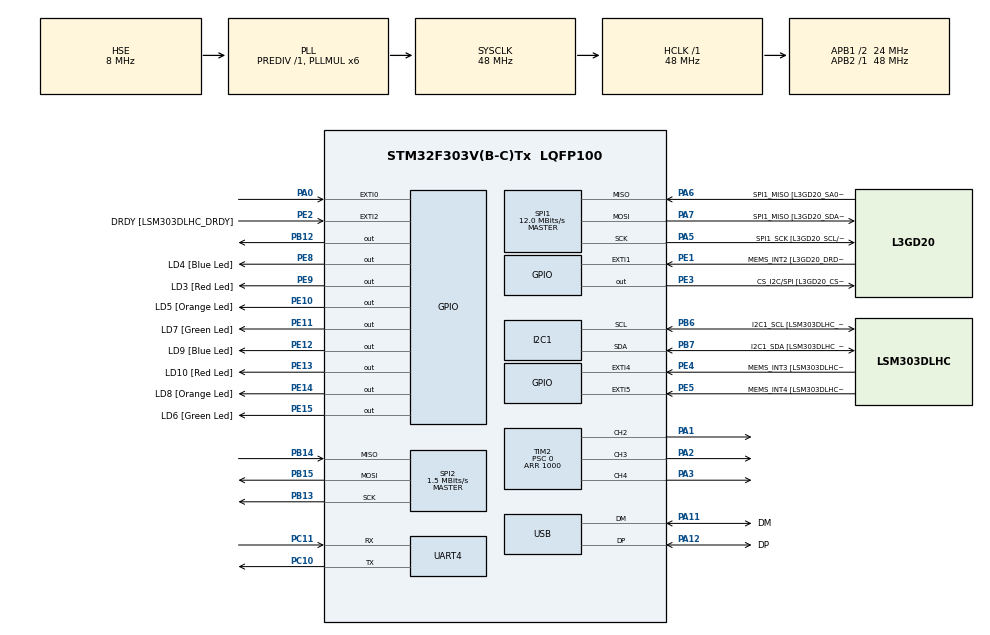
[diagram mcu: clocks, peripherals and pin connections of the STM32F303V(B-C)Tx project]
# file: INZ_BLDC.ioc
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Dma.Request0=SPI2_RX
Dma.Request1=SPI2_TX
Dma.Request2=UART4_RX
Dma.Request3=UART4_TX
Dma.SPI2_RX.0.Direction=DMA_PERIPH_TO_MEMORY
Dma.SPI2_RX.0.Instance=DMA1_Channel4
Dma.SPI2_RX.0.MemDataAlignment=DMA_MDATAALIGN_BYTE
Dma.SPI2_RX.0.MemInc=DMA_MINC_ENABLE
Dma.SPI2_RX.0.Mode=DMA_NORMAL
Dma.SPI2_RX.0.PeriphDataAlignment=DMA_PDATAALIGN_BYTE
Dma.SPI2_RX.0.PeriphInc=DMA_PINC_DISABLE
Dma.SPI2_RX.0.Priority=DMA_PRIORITY_LOW
Dma.SPI2_TX.1.Direction=DMA_MEMORY_TO_PERIPH
Dma.SPI2_TX.1.Instance=DMA1_Channel5
Dma.SPI2_TX.1.MemDataAlignment=DMA_MDATAALIGN_BYTE
Dma.SPI2_TX.1.MemInc=DMA_MINC_ENABLE
Dma.SPI2_TX.1.Mode=DMA_NORMAL
Dma.SPI2_TX.1.PeriphDataAlignment=DMA_PDATAALIGN_BYTE
Dma.SPI2_TX.1.PeriphInc=DMA_PINC_DISABLE
Dma.SPI2_TX.1.Priority=DMA_PRIORITY_LOW
Dma.UART4_RX.2.Direction=DMA_PERIPH_TO_MEMORY
Dma.UART4_RX.2.Instance=DMA2_Channel3
Dma.UART4_RX.2.MemDataAlignment=DMA_MDATAALIGN_BYTE
Dma.UART4_RX.2.MemInc=DMA_MINC_ENABLE
Dma.UART4_RX.2.Mode=DMA_NORMAL
Dma.UART4_RX.2.PeriphDataAlignment=DMA_PDATAALIGN_BYTE
Dma.UART4_RX.2.PeriphInc=DMA_PINC_DISABLE
Dma.UART4_RX.2.Priority=DMA_PRIORITY_LOW
Dma.UART4_TX.3.Direction=DMA_MEMORY_TO_PERIPH
Dma.UART4_TX.3.Instance=DMA2_Channel5
Dma.UART4_TX.3.MemDataAlignment=DMA_MDATAALIGN_BYTE
Dma.UART4_TX.3.MemInc=DMA_MINC_ENABLE
Dma.UART4_TX.3.Mode=DMA_NORMAL
Dma.UART4_TX.3.PeriphDataAlignment=DMA_PDATAALIGN_BYTE
Dma.UART4_TX.3.PeriphInc=DMA_PINC_DISABLE
Dma.UART4_TX.3.Priority=DMA_PRIORITY_LOW
I2C1.Timing=0x2000090E
I2C1.Timing-I2C=0x2000090E
Mcu.Family=STM32F3
Mcu.Name=STM32F303V(B-C)Tx
Mcu.Package=LQFP100
NVIC.DMA1_Channel4_IRQn=true\:0\:0\:false\:false\:true\:false
NVIC.DMA1_Channel5_IRQn=true\:0\:0\:false\:false\:true\:false
NVIC.DMA2_Channel3_IRQn=true\:0\:0\:false\:false\:true\:false
NVIC.DMA2_Channel5_IRQn=true\:0\:0\:false\:false\:true\:false
NVIC.EXTI0_IRQn=true\:0\:0\:false\:false\:true\:true
NVIC.PriorityGroup=NVIC_PRIORITYGROUP_0
NVIC.SPI2_IRQn=true\:0\:0\:false\:false\:true\:true
NVIC.TIM1_TRG_COM_TIM17_IRQn=true\:0\:0\:false\:false\:true\:true
NVIC.TIM1_UP_TIM16_IRQn=true\:0\:0\:false\:false\:true\:true
NVIC.TIM2_IRQn=true\:0\:0\:false\:false\:true\:true
NVIC.UART4_IRQn=true\:0\:0\:false\:false\:true\:true
PA0.Signal=GPXTI0
PA1.GPIO_Speed=GPIO_SPEED_FREQ_HIGH
PA1.Signal=S_TIM2_CH2
PA11.GPIO_Label=DM
PA11.Mode=Device
PA11.Signal=USB_DM
PA12.GPIO_Label=DP
PA12.Mode=Device
PA12.Signal=USB_DP
PA13.GPIO_Label=SWDIO
PA13.Mode=Serial_Wire
PA13.Signal=SYS_JTMS-SWDIO
PA14.GPIO_Label=SWCLK
PA14.Mode=Serial_Wire
PA14.Signal=SYS_JTCK-SWCLK
PA2.GPIO_Speed=GPIO_SPEED_FREQ_HIGH
PA2.Signal=S_TIM2_CH3
PA3.GPIO_Speed=GPIO_SPEED_FREQ_HIGH
PA3.Signal=S_TIM2_CH4
PA5.GPIO_Label=SPI1_SCK [L3GD20_SCL/SPC]
PA5.Mode=Full_Duplex_Master
PA5.Signal=SPI1_SCK
PA6.GPIO_Label=SPI1_MISO [L3GD20_SA0/SDO]
PA6.Mode=Full_Duplex_Master
PA6.Signal=SPI1_MISO
PA7.GPIO_Label=SPI1_MISO [L3GD20_SDA/SDI/SDO]
PA7.Mode=Full_Duplex_Master
PA7.Signal=SPI1_MOSI
PB12.GPIO_Speed=GPIO_SPEED_FREQ_LOW
PB12.Signal=GPIO_Output
PB13.Mode=Full_Duplex_Master
PB13.Signal=SPI2_SCK
PB14.Mode=Full_Duplex_Master
PB14.Signal=SPI2_MISO
PB15.Mode=Full_Duplex_Master
PB15.Signal=SPI2_MOSI
PB3.GPIO_Label=SWO
PB3.Signal=SYS_JTDO-TRACESWO
PB6.GPIO_Label=I2C1_SCL [LSM303DLHC_SCL]
PB6.Mode=I2C
PB6.Signal=I2C1_SCL
PB7.GPIO_Label=I2C1_SDA [LSM303DLHC_SDA]
PB7.Mode=I2C
PB7.Signal=I2C1_SDA
PC10.Mode=Asynchronous
PC10.Signal=UART4_TX
PC11.Mode=Asynchronous
PC11.Signal=UART4_RX
PC14-OSC32_IN.GPIO_Label=OSC32_IN
PC14-OSC32_IN.Signal=RCC_OSC32_IN
PC15-OSC32_OUT.GPIO_Label=OSC32_OUT
PC15-OSC32_OUT.Signal=RCC_OSC32_OUT
PE1.GPIO_Label=MEMS_INT2 [L3GD20_DRDY/INT2]
PE1.GPIO_ModeDefaultEXTI=GPIO_MODE_EVT_RISING
PE1.Signal=GPXTI1
PE10.GPIO_Label=LD5 [Orange Led]
PE10.Signal=GPIO_Output
PE11.GPIO_Label=LD7 [Green Led]
PE11.Signal=GPIO_Output
PE12.GPIO_Label=LD9 [Blue Led]
PE12.Signal=GPIO_Output
PE13.GPIO_Label=LD10 [Red Led]
PE13.Signal=GPIO_Output
PE14.GPIO_Label=LD8 [Orange Led]
PE14.Signal=GPIO_Output
PE15.GPIO_Label=LD6 [Green Led]
PE15.Signal=GPIO_Output
PE2.GPIO_Label=DRDY [LSM303DLHC_DRDY]
PE2.GPIO_ModeDefaultEXTI=GPIO_MODE_EVT_RISING
PE2.Signal=GPXTI2
PE3.GPIO_Label=CS_I2C/SPI [L3GD20_CS_I2C/SPI]
PE3.Signal=GPIO_Output
PE4.GPIO_Label=MEMS_INT3 [LSM303DLHC_INT1]
PE4.GPIO_ModeDefaultEXTI=GPIO_MODE_EVT_RISING
PE4.Signal=GPXTI4
PE5.GPIO_Label=MEMS_INT4 [LSM303DLHC_INT2]
PE5.GPIO_ModeDefaultEXTI=GPIO_MODE_EVT_RISING
PE5.Signal=GPXTI5
PE8.GPIO_Label=LD4 [Blue Led]
PE8.Signal=GPIO_Output
PE9.GPIO_Label=LD3 [Red Led]
PE9.Signal=GPIO_Output
PF0-OSC_IN.GPIO_Label=OSC_IN
PF0-OSC_IN.Mode=HSE-External-Clock-Source
PF0-OSC_IN.Signal=RCC_OSC_IN
PF1-OSC_OUT.GPIO_Label=OSC_OUT
PF1-OSC_OUT.Signal=RCC_OSC_OUT
ProjectManager.HeapSize=0x200
ProjectManager.StackSize=0x400
ProjectManager.TargetToolchain=TrueSTUDIO
RCC.AHBFreq_Value=48000000
RCC.APB1CLKDivider=RCC_HCLK_DIV2
RCC.APB1Freq_Value=24000000
RCC.APB1TimFreq_Value=48000000
RCC.APB2Freq_Value=48000000
RCC.APB2TimFreq_Value=48000000
RCC.CortexFreq_Value=48000000
RCC.HCLKFreq_Value=48000000
RCC.HSE_VALUE=8000000
RCC.HSI_VALUE=8000000
RCC.LSE_VALUE=32768
RCC.PLLMUL=RCC_PLL_MUL6
RCC.SYSCLKFreq_VALUE=48000000
RCC.SYSCLKSourceVirtual=RCC_SYSCLKSOURCE_PLLCLK
RCC.USBFreq_Value=48000000
SH.S_TIM2_CH2.0=TIM2_CH2,PWM Generation2 CH2
SH.S_TIM2_CH3.0=TIM2_CH3,PWM Generation3 CH3
SH.S_TIM2_CH4.0=TIM2_CH4,PWM Generation4 CH4
SPI1.BaudRatePrescaler=SPI_BAUDRATEPRESCALER_4
SPI1.BaudRatePrescaler-Full_Duplex_Master=SPI_BAUDRATEPRESCALER_2
SPI1.CalculateBaudRate=12.0 MBits/s
SPI1.CalculateBaudRate-Full_Duplex_Master=24.0 MBits/s
SPI1.Direction=SPI_DIRECTION_2LINES
SPI1.Mode=SPI_MODE_MASTER
SPI1.Mode-Full_Duplex_Master=SPI_MODE_MASTER
SPI1.VirtualType=VM_MASTER
SPI2.BaudRatePrescaler=SPI_BAUDRATEPRESCALER_16
SPI2.CLKPhase=SPI_PHASE_2EDGE
SPI2.CalculateBaudRate=1.5 MBits/s
SPI2.DataSize=SPI_DATASIZE_8BIT
SPI2.Direction=SPI_DIRECTION_2LINES
SPI2.Mode=SPI_MODE_MASTER
SPI2.VirtualType=VM_MASTER
TIM16.AutoReloadPreload=TIM_AUTORELOAD_PRELOAD_ENABLE
TIM16.Period=1000
TIM16.Prescaler=6400
TIM17.AutoReloadPreload=TIM_AUTORELOAD_PRELOAD_ENABLE
TIM17.Period=1000
TIM17.Prescaler=6400
TIM2.Channel-PWM\ Generation2\ CH2=TIM_CHANNEL_2
TIM2.Channel-PWM\ Generation3\ CH3=TIM_CHANNEL_3
TIM2.Channel-PWM\ Generation4\ CH4=TIM_CHANNEL_4
TIM2.Period=1000
TIM2.Prescaler=0
VP_TIM16_VS_ClockSourceINT.Mode=Enable_Timer
VP_TIM17_VS_ClockSourceINT.Mode=Enable_Timer
board=STM32F3DISCOVERY

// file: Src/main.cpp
/**
 ******************************************************************************
 * @file           : main.c
 * @brief          : Main program body
 ******************************************************************************
 ** This notice applies to any and all portions of this file
 * that are not between comment pairs USER CODE BEGIN and
 * USER CODE END. Other portions of this file, whether
 * inserted by the user or by software development tools
 * are owned by their respective copyright owners.
 *
 * COPYRIGHT(c) 2019 STMicroelectronics
 *
 * Redistribution and use in source and binary forms, with or without modification,
 * are permitted provided that the following conditions are met:
 *   1. Redistributions of source code must retain the above copyright notice,
 *      this list of conditions and the following disclaimer.
 *   2. Redistributions in binary form must reproduce the above copyright notice,
 *      this list of conditions and the following disclaimer in the documentation
 *      and/or other materials provided with the distribution.
 *   3. Neither the name of STMicroelectronics nor the names of its contributors
 *      may be used to endorse or promote products derived from this software
 *      without specific prior written permission.
 *
 * THIS SOFTWARE IS PROVIDED BY THE COPYRIGHT HOLDERS AND CONTRIBUTORS "AS IS"
 * AND ANY EXPRESS OR IMPLIED WARRANTIES, INCLUDING, BUT NOT LIMITED TO, THE
 * IMPLIED WARRANTIES OF MERCHANTABILITY AND FITNESS FOR A PARTICULAR PURPOSE ARE
 * DISCLAIMED. IN NO EVENT SHALL THE COPYRIGHT HOLDER OR CONTRIBUTORS BE LIABLE
 * FOR ANY DIRECT, INDIRECT, INCIDENTAL, SPECIAL, EXEMPLARY, OR CONSEQUENTIAL
 * DAMAGES (INCLUDING, BUT NOT LIMITED TO, PROCUREMENT OF SUBSTITUTE GOODS OR
 * SERVICES; LOSS OF USE, DATA, OR PROFITS; OR BUSINESS INTERRUPTION) HOWEVER
 * CAUSED AND ON ANY THEORY OF LIABILITY, WHETHER IN CONTRACT, STRICT LIABILITY,
 * OR TORT (INCLUDING NEGLIGENCE OR OTHERWISE) ARISING IN ANY WAY OUT OF THE USE
 * OF THIS SOFTWARE, EVEN IF ADVISED OF THE POSSIBILITY OF SUCH DAMAGE.
 *
 ******************************************************************************
 */
#include "main.h"
#include "stm32f3xx_hal.h"

/* USER CODE BEGIN Includes */

#include "LedDriver.h"
#include "AS5048A.h"
#include "UartCom.h"
#include "math.h"
#include <algorithm>

#define ANGLE 360
#define DIRECTION_LEFT 2
#define DIRECTION_RIGHT 1
#define DIRECTION_STOP 0

#define degreesToRadians(angleDegrees) ((angleDegrees) * M_PI / 180.0)

/* USER CODE END Includes */

I2C_HandleTypeDef hi2c1;

SPI_HandleTypeDef hspi1;
SPI_HandleTypeDef hspi2;
DMA_HandleTypeDef hdma_spi2_rx;
DMA_HandleTypeDef hdma_spi2_tx;

TIM_HandleTypeDef htim2;
TIM_HandleTypeDef htim16;
TIM_HandleTypeDef htim17;

UART_HandleTypeDef huart4;
DMA_HandleTypeDef hdma_uart4_rx;
DMA_HandleTypeDef hdma_uart4_tx;

PCD_HandleTypeDef hpcd_USB_FS;

/* USER CODE BEGIN PV */
/* Private variables ---------------------------------------------------------*/
uint8_t button = 1;
uint8_t direction;

uint8_t start_change_fi = false;
uint16_t answ;
uint16_t datax;
uint16_t dataBufferRX;
dataTX *dataBufferTX;

uint16_t zero_angle;

AS5048A *encoder_1;
UartCom *uartPC;
Led_Driver *leds;

int SPWM_strong [ANGLE];
int SPWM_light [ANGLE];
int *SPWM;

double SP;
double ep = 0.0;
double e;

double ster = 0.0;

int32_t U;
int32_t V;
int32_t W;

volatile uint32_t* u_reg;
volatile uint32_t* v_reg;
volatile uint32_t* w_reg;

volatile uint32_t* speed_reg;

volatile uint32_t* speed_timer_reg;

uint32_t rotate;

#define ANG 1640
#define HANG 820

/* USER CODE END PV */

void SystemClock_Config(void);
static void MX_GPIO_Init(void);
static void MX_DMA_Init(void);
static void MX_I2C1_Init(void);
static void MX_SPI1_Init(void);
static void MX_USB_PCD_Init(void);
static void MX_UART4_Init(void);
static void MX_SPI2_Init(void);
static void MX_TIM2_Init(void);
static void MX_TIM17_Init(void);
static void MX_TIM16_Init(void);

//void HAL_TIM_MspPostInit(TIM_HandleTypeDef *htim);

/* USER CODE BEGIN PFP */
/* Private function prototypes -----------------------------------------------*/
extern "C" void HAL_TIM_MspPostInit(TIM_HandleTypeDef *htim);

void GenerateSPWM(int max_duty, int S[]){
	for(int i=0; i<ANGLE; i++){
		S[i]= max_duty*(sin(degreesToRadians(i))) + max_duty;
	}
}

void setComuteAngle(int16_t angle){
	U = angle; 	if(U >= ANGLE) U -= ANGLE; else if(U < 0) U += ANGLE-1;
	V = U+120; 	if(V >= ANGLE) V -= ANGLE; else if(V < 0) V += ANGLE-1;
	W = V+120; 	if(W >= ANGLE) W -= ANGLE; else if(W < 0) W += ANGLE-1;

	*u_reg = (uint32_t) SPWM[U] * ster;
	*v_reg = (uint32_t) SPWM[V] * ster;
	*w_reg = (uint32_t) SPWM[W] * ster;

}

void setComuteAngleDef(int16_t angle){
	U = angle; 	if(U >= ANGLE) U -= ANGLE; else if(U < 0) U += ANGLE-1;
	V = U+120; 	if(V >= ANGLE) V -= ANGLE; else if(V < 0) V += ANGLE-1;
	W = V+120; 	if(W >= ANGLE) W -= ANGLE; else if(W < 0) W += ANGLE-1;

	*u_reg = (uint32_t) SPWM[U];
	*v_reg = (uint32_t) SPWM[V];
	*w_reg = (uint32_t) SPWM[W];

}

void HAL_GPIO_EXTI_Callback(uint16_t GPIO_Pin){
	button = !button;
}

/* USER CODE END PFP */

/* USER CODE BEGIN 0 */

void HAL_SPI_TxRxCpltCallback(SPI_HandleTypeDef *hspi){
	if(start_change_fi){
		uint16_t set = 0;
		set = (double) encoder_1->getAngle() / 6.5;
		set %= 360;
		set -= zero_angle;
		set += 90;

		setComuteAngle(set);
	}
	//dataBufferTX->angle = encoder_1->getAngle();

	//zero_angle;

	encoder_1->sendNextData();
	//SETING LEDS ON BOARD TO SHOW APPROXIMATELY ENGINE POSITION ~~~NOW TO SLOW

	//	if(button)
	//		leds->showSET((uint8_t)(encoder_1->getAngle() / 2048));
	//	else
	//		leds->showRESET((uint8_t)(encoder_1->getAngle() / 2048));
}

void HAL_UART_TxCpltCallback(UART_HandleTypeDef *huart) {
	uartPC->sendData();
}

void HAL_UART_RxCpltCallback(UART_HandleTypeDef *huart) {
	uartPC->recieveNextData();
	//GenerateSPWM(uartPC->getData(),0.2,SPWM);
	//HAL_TIM_Base_DeInit(&htim17);
	//HAL_TIM_Base_Stop_IT(&htim17);
	//htim17.Init.Period = uartPC->getAngle();
	SP = uartPC->getData();
	//TIM17->ARR = uartPC->getData() / 10;
	//HAL_TIM_Base_Init(&htim17);
	//HAL_TIM_Base_Start_IT(&htim17);

	//SP = uartPC->getAngle();

}

uint32_t prev_time = HAL_GetTick();
uint16_t prev_angle = 0;
//std::vector<double> speed_vector (50,100.0);

void calculateSpeed(){
	std::vector<uint16_t> angle_vector = encoder_1->getAngleVector();

	uint32_t arvg_speed = 0;

	for(uint16_t i = 0; i < angle_vector.size(); i++){
		arvg_speed += angle_vector[i];
	}

	arvg_speed /= angle_vector.size();

	uint32_t time = HAL_GetTick();
	uint32_t dt = time - prev_time;
	prev_time = time;

	uint16_t angle = encoder_1->getAngle();
	uint16_t dAngle = angle - prev_angle;

	if(angle < prev_angle){
		dAngle = std::min(abs(angle - prev_angle), abs(angle + ANG - prev_angle));
	} else {
		dAngle = std::min(angle - prev_angle, abs(angle - ANG - prev_angle));
	}

	prev_angle = angle;
	//double SP = 50.0;
	double Kp = 0.1;
	double Ti = 1.5;

	double speed = (double)dAngle / dt;

	e = SP - speed;

	double C;
	//czlon I
	C = ((e + ep)/2)*dt;

	C *= Ti;

	ster = Kp*(e + C);

	ep = e;

//	htim17.Instance->ARR = 2000 - Kp * e;

	//	speed *= 1;
	//	arvg_speed /=

	//	speed_vector.erase (speed_vector.begin());
	//	speed_vector.push_back(speed);
	//
	//	double av_speed = 0;
	//	for(int i = 0; i < speed_vector.size(); i++){
	//		av_speed += speed_vector[i];
	//	}
	//
	//	av_speed /= speed_vector.size();

	dataBufferTX->real_angle = speed;
	dataBufferTX->angle = e;

	//	encoder_1->clearAngleVector();
}

void HAL_TIM_PeriodElapsedCallback(TIM_HandleTypeDef *htim){
	if(htim->Instance == htim16.Instance){
		calculateSpeed();
	} else if (htim->Instance == htim17.Instance){
		if(direction == DIRECTION_LEFT)
			setComuteAngle(U + 1);
		else if (direction == DIRECTION_RIGHT)
			setComuteAngle(U - 1);
		else{
			setComuteAngle(U);
		}
	}
}

void initSpeedTimer(TIM_HandleTypeDef *htim){
	htim->Instance->ARR = 500;
	htim->Instance->PSC = 16;
}

/* USER CODE END 0 */

int main(void)
{

	/* MCU Configuration----------------------------------------------------------*/

	/* Reset of all peripherals, Initializes the Flash interface and the Systick. */
	HAL_Init();

	/* Configure the system clock */
	SystemClock_Config();

	/* Initialize all configured peripherals */
	MX_GPIO_Init();
	MX_DMA_Init();
	MX_I2C1_Init();
	MX_SPI1_Init();
	MX_USB_PCD_Init();
	MX_UART4_Init();
	MX_SPI2_Init();
	MX_TIM2_Init();
	MX_TIM17_Init();
	MX_TIM16_Init();
	/* USER CODE BEGIN 2 */

	HAL_TIM_PWM_Start(&htim2, TIM_CHANNEL_2);
	HAL_TIM_PWM_Start(&htim2, TIM_CHANNEL_3);
	HAL_TIM_PWM_Start(&htim2, TIM_CHANNEL_4);

	initSpeedTimer(&htim17);

	/* USER CODE END 2 */

	/* Infinite loop */
	/* USER CODE BEGIN WHILE */

	direction = DIRECTION_RIGHT;

	leds = new Led_Driver(GPIOE, GPIO_PIN_8, GPIO_PIN_15);
	//leds->showIntro();

	encoder_1 = new AS5048A(GPIOB, GPIO_PIN_12, &hspi2);

	encoder_1->startSendData();

	uartPC = new UartCom(&huart4, encoder_1->getBufferRX());
	dataBufferTX = uartPC->getDataBuffer();
	uartPC->startRecieveData();

	rotate= 0;

	u_reg = &TIM2->CCR2;
	v_reg = &TIM2->CCR3;
	w_reg = &TIM2->CCR4;

	speed_reg = &TIM17->ARR;

	U=0;
	V=U+120;
	W=V+120;
	GenerateSPWM(50,SPWM_strong);
	GenerateSPWM(50,SPWM_light);
	SPWM = SPWM_strong;

	*u_reg = (uint32_t) SPWM[U];
	*v_reg = (uint32_t) SPWM[V];
	*w_reg = (uint32_t) SPWM[W];

	HAL_TIM_Base_Start_IT(&htim16);
	//HAL_TIM_Base_Start_IT(&htim17);

	setComuteAngleDef(0);
	HAL_Delay(1000);
	zero_angle = encoder_1->getAngle();
	//
	zero_angle = (double)zero_angle / 6.5;
	//
	zero_angle %= 360;

	start_change_fi = true;

	//dataBufferTX->angle = zero_angle;

	//	for(int i =0; i < 7; i++){
	//setComuteAngle(90);
	//		HAL_Delay(500);
	//		setComuteAngle(180);
	//		HAL_Delay(500);
	//		setComuteAngle(270);
	//		HAL_Delay(500);
	//		setComuteAngle(0);
	//		HAL_Delay(500);

	//	}

	while (1)
	{

		//		U++;
		//		if(U >= 359) U = 0;
		//		V++;
		//		if(V >= 359) V = 0;
		//		W++;
		//		if(W >= 359) W = 0;
		//
		//		*u_reg = (uint32_t) SPWM[U];
		//		*v_reg = (uint32_t) SPWM[V];
		//		*w_reg = (uint32_t) SPWM[W];

		//HAL_Delay(10);

		//int angle = (encoder_1->getAngle() ) / 45.5;
		//		int angle = (encoder_1->getAngle() ) / 10;
		//		//speed_reg = &TIM17->ARR;
		//		if( isOnRange(angle, SP, 1) ){
		//			//GenerateSPWM(50,0.2,SPWM);
		//			SPWM = SPWM_light;
		//			direction = DIRECTION_STOP;
		//			flag = 1;
		//			//button = true;
		//		}
		//		else if(distance(SP, angle) < 0){
		//			//GenerateSPWM(150,0.2,SPWM);
		//			SPWM=SPWM_strong;
		//			direction = DIRECTION_RIGHT;
		//		} else {
		//			//GenerateSPWM(150,0.2,SPWM);
		//			SPWM=SPWM_strong;
		//			direction = DIRECTION_LEFT;
		//		}

		//uartPC->real_angle = ((SP - angle + 180) % 360 - 180 );
		//		else if ((encoder_1->getAngle() / 45.5) > SP){
		//			//button = false;
		//			//GenerateSPWM(150,0.2,SPWM);
		//			direction = DIRECTION_LEFT;
		//		}
		//		else if ((encoder_1->getAngle() / 45.5) < SP){
		//			//button = false;
		//			//GenerateSPWM(150,0.2,SPWM);
		//			direction = DIRECTION_RIGHT;
		//		}
		//uartPC->real_angle = rotate * 360 + U + 40;
		//uartPC->real_angle = (encoder_1->getAngle() ) / 45.5;
		/* USER CODE END WHILE */

		/* USER CODE BEGIN 3 */
		//Wybór kierunku

		//		setComuteAngle(U+1);
		//
		//		for(int i =0; i < 300; i++){
		//			;
		//		}

		//	HAL_Delay(1);
	}
	/* USER CODE END 3 */

}

void SystemClock_Config(void)
{

	RCC_OscInitTypeDef RCC_OscInitStruct;
	RCC_ClkInitTypeDef RCC_ClkInitStruct;
	RCC_PeriphCLKInitTypeDef PeriphClkInit;

	/**Initializes the CPU, AHB and APB busses clocks
	 */
	RCC_OscInitStruct.OscillatorType = RCC_OSCILLATORTYPE_HSI|RCC_OSCILLATORTYPE_HSE;
	RCC_OscInitStruct.HSEState = RCC_HSE_BYPASS;
	RCC_OscInitStruct.HSEPredivValue = RCC_HSE_PREDIV_DIV1;
	RCC_OscInitStruct.HSIState = RCC_HSI_ON;
	RCC_OscInitStruct.HSICalibrationValue = 16;
	RCC_OscInitStruct.PLL.PLLState = RCC_PLL_ON;
	RCC_OscInitStruct.PLL.PLLSource = RCC_PLLSOURCE_HSE;
	RCC_OscInitStruct.PLL.PLLMUL = RCC_PLL_MUL6;
	if (HAL_RCC_OscConfig(&RCC_OscInitStruct) != HAL_OK)
	{
		_Error_Handler(__FILE__, __LINE__);
	}

	/**Initializes the CPU, AHB and APB busses clocks
	 */
	RCC_ClkInitStruct.ClockType = RCC_CLOCKTYPE_HCLK|RCC_CLOCKTYPE_SYSCLK
			|RCC_CLOCKTYPE_PCLK1|RCC_CLOCKTYPE_PCLK2;
	RCC_ClkInitStruct.SYSCLKSource = RCC_SYSCLKSOURCE_PLLCLK;
	RCC_ClkInitStruct.AHBCLKDivider = RCC_SYSCLK_DIV1;
	RCC_ClkInitStruct.APB1CLKDivider = RCC_HCLK_DIV2;
	RCC_ClkInitStruct.APB2CLKDivider = RCC_HCLK_DIV1;

	if (HAL_RCC_ClockConfig(&RCC_ClkInitStruct, FLASH_LATENCY_1) != HAL_OK)
	{
		_Error_Handler(__FILE__, __LINE__);
	}

	PeriphClkInit.PeriphClockSelection = RCC_PERIPHCLK_USB|RCC_PERIPHCLK_UART4
			|RCC_PERIPHCLK_I2C1;
	PeriphClkInit.Uart4ClockSelection = RCC_UART4CLKSOURCE_PCLK1;
	PeriphClkInit.I2c1ClockSelection = RCC_I2C1CLKSOURCE_HSI;
	PeriphClkInit.USBClockSelection = RCC_USBCLKSOURCE_PLL;
	if (HAL_RCCEx_PeriphCLKConfig(&PeriphClkInit) != HAL_OK)
	{
		_Error_Handler(__FILE__, __LINE__);
	}

	/**Configure the Systick interrupt time
	 */
	HAL_SYSTICK_Config(HAL_RCC_GetHCLKFreq()/1000);

	/**Configure the Systick
	 */
	HAL_SYSTICK_CLKSourceConfig(SYSTICK_CLKSOURCE_HCLK);

	/* SysTick_IRQn interrupt configuration */
	HAL_NVIC_SetPriority(SysTick_IRQn, 0, 0);
}

/* I2C1 init function */
static void MX_I2C1_Init(void)
{

	hi2c1.Instance = I2C1;
	hi2c1.Init.Timing = 0x2000090E;
	hi2c1.Init.OwnAddress1 = 0;
	hi2c1.Init.AddressingMode = I2C_ADDRESSINGMODE_7BIT;
	hi2c1.Init.DualAddressMode = I2C_DUALADDRESS_DISABLE;
	hi2c1.Init.OwnAddress2 = 0;
	hi2c1.Init.OwnAddress2Masks = I2C_OA2_NOMASK;
	hi2c1.Init.GeneralCallMode = I2C_GENERALCALL_DISABLE;
	hi2c1.Init.NoStretchMode = I2C_NOSTRETCH_DISABLE;
	if (HAL_I2C_Init(&hi2c1) != HAL_OK)
	{
		_Error_Handler(__FILE__, __LINE__);
	}

	/**Configure Analogue filter
	 */
	if (HAL_I2CEx_ConfigAnalogFilter(&hi2c1, I2C_ANALOGFILTER_ENABLE) != HAL_OK)
	{
		_Error_Handler(__FILE__, __LINE__);
	}

	/**Configure Digital filter
	 */
	if (HAL_I2CEx_ConfigDigitalFilter(&hi2c1, 0) != HAL_OK)
	{
		_Error_Handler(__FILE__, __LINE__);
	}

}

/* SPI1 init function */
static void MX_SPI1_Init(void)
{

	/* SPI1 parameter configuration*/
	hspi1.Instance = SPI1;
	hspi1.Init.Mode = SPI_MODE_MASTER;
	hspi1.Init.Direction = SPI_DIRECTION_2LINES;
	hspi1.Init.DataSize = SPI_DATASIZE_4BIT;
	hspi1.Init.CLKPolarity = SPI_POLARITY_LOW;
	hspi1.Init.CLKPhase = SPI_PHASE_1EDGE;
	hspi1.Init.NSS = SPI_NSS_SOFT;
	hspi1.Init.BaudRatePrescaler = SPI_BAUDRATEPRESCALER_4;
	hspi1.Init.FirstBit = SPI_FIRSTBIT_MSB;
	hspi1.Init.TIMode = SPI_TIMODE_DISABLE;
	hspi1.Init.CRCCalculation = SPI_CRCCALCULATION_DISABLE;
	hspi1.Init.CRCPolynomial = 7;
	hspi1.Init.CRCLength = SPI_CRC_LENGTH_DATASIZE;
	hspi1.Init.NSSPMode = SPI_NSS_PULSE_ENABLE;
	if (HAL_SPI_Init(&hspi1) != HAL_OK)
	{
		_Error_Handler(__FILE__, __LINE__);
	}

}

/* SPI2 init function */
static void MX_SPI2_Init(void)
{

	/* SPI2 parameter configuration*/
	hspi2.Instance = SPI2;
	hspi2.Init.Mode = SPI_MODE_MASTER;
	hspi2.Init.Direction = SPI_DIRECTION_2LINES;
	hspi2.Init.DataSize = SPI_DATASIZE_8BIT;
	hspi2.Init.CLKPolarity = SPI_POLARITY_LOW;
	hspi2.Init.CLKPhase = SPI_PHASE_2EDGE;
	hspi2.Init.NSS = SPI_NSS_SOFT;
	hspi2.Init.BaudRatePrescaler = SPI_BAUDRATEPRESCALER_16;
	hspi2.Init.FirstBit = SPI_FIRSTBIT_MSB;
	hspi2.Init.TIMode = SPI_TIMODE_DISABLE;
	hspi2.Init.CRCCalculation = SPI_CRCCALCULATION_DISABLE;
	hspi2.Init.CRCPolynomial = 7;
	hspi2.Init.CRCLength = SPI_CRC_LENGTH_DATASIZE;
	hspi2.Init.NSSPMode = SPI_NSS_PULSE_DISABLE;
	if (HAL_SPI_Init(&hspi2) != HAL_OK)
	{
		_Error_Handler(__FILE__, __LINE__);
	}

}

/* TIM2 init function */
static void MX_TIM2_Init(void)
{

	TIM_MasterConfigTypeDef sMasterConfig;
	TIM_OC_InitTypeDef sConfigOC;

	htim2.Instance = TIM2;
	htim2.Init.Prescaler = 0;
	htim2.Init.CounterMode = TIM_COUNTERMODE_UP;
	htim2.Init.Period = 1000;
	htim2.Init.ClockDivision = TIM_CLOCKDIVISION_DIV1;
	htim2.Init.AutoReloadPreload = TIM_AUTORELOAD_PRELOAD_DISABLE;
	if (HAL_TIM_PWM_Init(&htim2) != HAL_OK)
	{
		_Error_Handler(__FILE__, __LINE__);
	}

	sMasterConfig.MasterOutputTrigger = TIM_TRGO_RESET;
	sMasterConfig.MasterSlaveMode = TIM_MASTERSLAVEMODE_DISABLE;
	if (HAL_TIMEx_MasterConfigSynchronization(&htim2, &sMasterConfig) != HAL_OK)
	{
		_Error_Handler(__FILE__, __LINE__);
	}

	sConfigOC.OCMode = TIM_OCMODE_PWM1;
	sConfigOC.Pulse = 0;
	sConfigOC.OCPolarity = TIM_OCPOLARITY_HIGH;
	sConfigOC.OCFastMode = TIM_OCFAST_DISABLE;
	if (HAL_TIM_PWM_ConfigChannel(&htim2, &sConfigOC, TIM_CHANNEL_2) != HAL_OK)
	{
		_Error_Handler(__FILE__, __LINE__);
	}

	if (HAL_TIM_PWM_ConfigChannel(&htim2, &sConfigOC, TIM_CHANNEL_3) != HAL_OK)
	{
		_Error_Handler(__FILE__, __LINE__);
	}

	if (HAL_TIM_PWM_ConfigChannel(&htim2, &sConfigOC, TIM_CHANNEL_4) != HAL_OK)
	{
		_Error_Handler(__FILE__, __LINE__);
	}

	HAL_TIM_MspPostInit(&htim2);

}

/* TIM16 init function */
static void MX_TIM16_Init(void)
{

	htim16.Instance = TIM16;
	htim16.Init.Prescaler = 64;
	htim16.Init.CounterMode = TIM_COUNTERMODE_UP;
	htim16.Init.Period = 1000;
	htim16.Init.ClockDivision = TIM_CLOCKDIVISION_DIV1;
	htim16.Init.RepetitionCounter = 0;
	htim16.Init.AutoReloadPreload = TIM_AUTORELOAD_PRELOAD_ENABLE;
	if (HAL_TIM_Base_Init(&htim16) != HAL_OK)
	{
		_Error_Handler(__FILE__, __LINE__);
	}

}

/* TIM17 init function */
static void MX_TIM17_Init(void)
{

	htim17.Instance = TIM17;
	htim17.Init.Prescaler = 32;
	htim17.Init.CounterMode = TIM_COUNTERMODE_UP;
	htim17.Init.Period = 1000;
	htim17.Init.ClockDivision = TIM_CLOCKDIVISION_DIV1;
	htim17.Init.RepetitionCounter = 0;
	htim17.Init.AutoReloadPreload = TIM_AUTORELOAD_PRELOAD_ENABLE;
	if (HAL_TIM_Base_Init(&htim17) != HAL_OK)
	{
		_Error_Handler(__FILE__, __LINE__);
	}

}

/* UART4 init function */
static void MX_UART4_Init(void)
{

	huart4.Instance = UART4;
	huart4.Init.BaudRate = 115200;
	huart4.Init.WordLength = UART_WORDLENGTH_8B;
	huart4.Init.StopBits = UART_STOPBITS_1;
	huart4.Init.Parity = UART_PARITY_NONE;
	huart4.Init.Mode = UART_MODE_TX_RX;
	huart4.Init.HwFlowCtl = UART_HWCONTROL_NONE;
	huart4.Init.OverSampling = UART_OVERSAMPLING_16;
	huart4.Init.OneBitSampling = UART_ONE_BIT_SAMPLE_DISABLE;
	huart4.AdvancedInit.AdvFeatureInit = UART_ADVFEATURE_NO_INIT;
	if (HAL_UART_Init(&huart4) != HAL_OK)
	{
		_Error_Handler(__FILE__, __LINE__);
	}

}

/* USB init function */
static void MX_USB_PCD_Init(void)
{

	hpcd_USB_FS.Instance = USB;
	hpcd_USB_FS.Init.dev_endpoints = 8;
	hpcd_USB_FS.Init.speed = PCD_SPEED_FULL;
	hpcd_USB_FS.Init.ep0_mps = DEP0CTL_MPS_64;
	hpcd_USB_FS.Init.phy_itface = PCD_PHY_EMBEDDED;
	hpcd_USB_FS.Init.low_power_enable = DISABLE;
	hpcd_USB_FS.Init.battery_charging_enable = DISABLE;
	if (HAL_PCD_Init(&hpcd_USB_FS) != HAL_OK)
	{
		_Error_Handler(__FILE__, __LINE__);
	}

}

static void MX_DMA_Init(void)
{
	/* DMA controller clock enable */
	__HAL_RCC_DMA1_CLK_ENABLE();
	__HAL_RCC_DMA2_CLK_ENABLE();

	/* DMA interrupt init */
	/* DMA1_Channel4_IRQn interrupt configuration */
	HAL_NVIC_SetPriority(DMA1_Channel4_IRQn, 0, 0);
	HAL_NVIC_EnableIRQ(DMA1_Channel4_IRQn);
	/* DMA1_Channel5_IRQn interrupt configuration */
	HAL_NVIC_SetPriority(DMA1_Channel5_IRQn, 0, 0);
	HAL_NVIC_EnableIRQ(DMA1_Channel5_IRQn);
	/* DMA2_Channel3_IRQn interrupt configuration */
	HAL_NVIC_SetPriority(DMA2_Channel3_IRQn, 0, 0);
	HAL_NVIC_EnableIRQ(DMA2_Channel3_IRQn);
	/* DMA2_Channel5_IRQn interrupt configuration */
	HAL_NVIC_SetPriority(DMA2_Channel5_IRQn, 0, 0);
	HAL_NVIC_EnableIRQ(DMA2_Channel5_IRQn);

}

/** Configure pins as
 * Analog
 * Input
 * Output
 * EVENT_OUT
 * EXTI
 */
static void MX_GPIO_Init(void)
{

	GPIO_InitTypeDef GPIO_InitStruct;

	/* GPIO Ports Clock Enable */
	__HAL_RCC_GPIOE_CLK_ENABLE();
	__HAL_RCC_GPIOC_CLK_ENABLE();
	__HAL_RCC_GPIOF_CLK_ENABLE();
	__HAL_RCC_GPIOA_CLK_ENABLE();
	__HAL_RCC_GPIOB_CLK_ENABLE();

	/*Configure GPIO pin Output Level */
	HAL_GPIO_WritePin(GPIOE, CS_I2C_SPI_Pin|LD4_Pin|LD3_Pin|LD5_Pin
			|LD7_Pin|LD9_Pin|LD10_Pin|LD8_Pin
			|LD6_Pin, GPIO_PIN_RESET);

	/*Configure GPIO pin Output Level */
	HAL_GPIO_WritePin(GPIOB, GPIO_PIN_12, GPIO_PIN_RESET);

	/*Configure GPIO pins : DRDY_Pin MEMS_INT3_Pin MEMS_INT4_Pin MEMS_INT2_Pin */
	GPIO_InitStruct.Pin = DRDY_Pin|MEMS_INT3_Pin|MEMS_INT4_Pin|MEMS_INT2_Pin;
	GPIO_InitStruct.Mode = GPIO_MODE_EVT_RISING;
	GPIO_InitStruct.Pull = GPIO_NOPULL;
	HAL_GPIO_Init(GPIOE, &GPIO_InitStruct);

	/*Configure GPIO pins : CS_I2C_SPI_Pin LD4_Pin LD3_Pin LD5_Pin
                           LD7_Pin LD9_Pin LD10_Pin LD8_Pin
                           LD6_Pin */
	GPIO_InitStruct.Pin = CS_I2C_SPI_Pin|LD4_Pin|LD3_Pin|LD5_Pin
			|LD7_Pin|LD9_Pin|LD10_Pin|LD8_Pin
			|LD6_Pin;
	GPIO_InitStruct.Mode = GPIO_MODE_OUTPUT_PP;
	GPIO_InitStruct.Pull = GPIO_NOPULL;
	GPIO_InitStruct.Speed = GPIO_SPEED_FREQ_LOW;
	HAL_GPIO_Init(GPIOE, &GPIO_InitStruct);

	/*Configure GPIO pin : PA0 */
	GPIO_InitStruct.Pin = GPIO_PIN_0;
	GPIO_InitStruct.Mode = GPIO_MODE_IT_RISING;
	GPIO_InitStruct.Pull = GPIO_NOPULL;
	HAL_GPIO_Init(GPIOA, &GPIO_InitStruct);

	/*Configure GPIO pin : PB12 */
	GPIO_InitStruct.Pin = GPIO_PIN_12;
	GPIO_InitStruct.Mode = GPIO_MODE_OUTPUT_PP;
	GPIO_InitStruct.Pull = GPIO_NOPULL;
	GPIO_InitStruct.Speed = GPIO_SPEED_FREQ_LOW;
	HAL_GPIO_Init(GPIOB, &GPIO_InitStruct);

	/* EXTI interrupt init*/
	HAL_NVIC_SetPriority(EXTI0_IRQn, 0, 0);
	HAL_NVIC_EnableIRQ(EXTI0_IRQn);

}

void _Error_Handler(char *file, int line)
{
	while(1)
	{
	}
}

/************************ (C) COPYRIGHT STMicroelectronics *****END OF FILE****/
